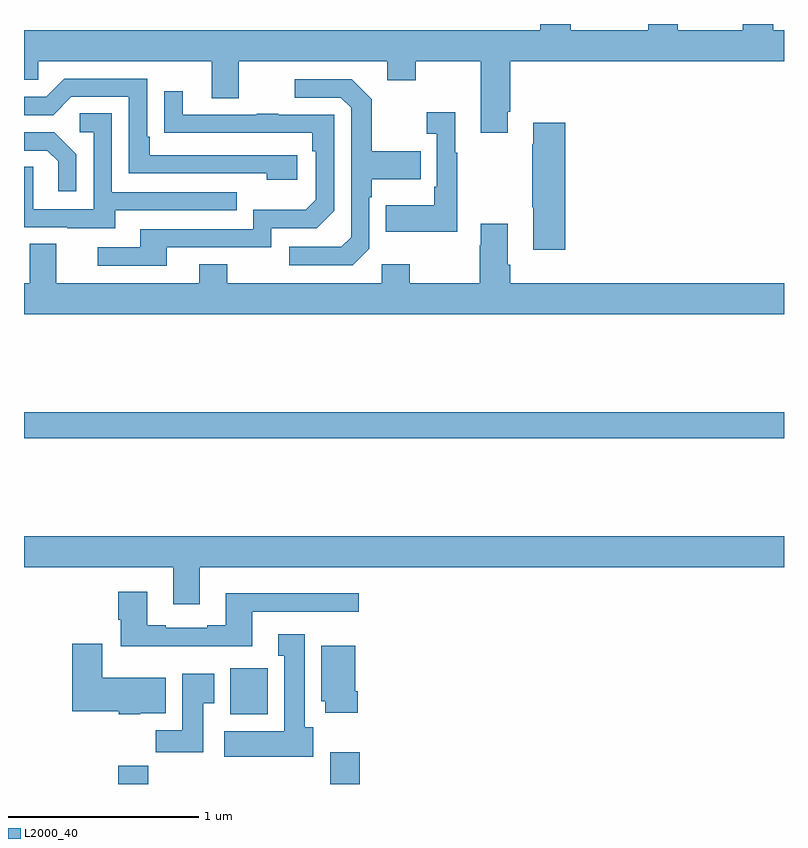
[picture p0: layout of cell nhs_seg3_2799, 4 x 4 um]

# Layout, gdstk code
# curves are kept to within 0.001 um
import gdstk
lib = gdstk.Library(unit=1e-6, precision=1e-09)
def R(c, l, rs):  # rectangles x0, y0, x1, y1
    for r in rs: c.add(gdstk.rectangle(r[:2], r[2:], *l))
def P(c, l, *ps):  # polygons
    for p in ps: c.add(gdstk.Polygon(p, *l))
L2000_40 = (2000, 40)

nhs_seg3_2799 = lib.new_cell('nhs_seg3_2799')
R(nhs_seg3_2799, L2000_40, [(255.497,742.4,255.653,742.496), (256.613,742.4,256.766,742.567), (256.085,742.766,256.282,743.008), (255,744.22,259,744.356)])
P(nhs_seg3_2799, L2000_40, [(257.545,745.939),(257.558,745.939),(257.558,746.204),(259,746.204),(259,746.368),(258.944,746.368),(258.944,746.4),(258.784,746.4),(258.784,746.368),(258.441,746.368),(258.441,746.4),(258.286,746.4),(258.286,746.368),(257.877,746.368),(257.877,746.4),(257.717,746.4),(257.717,746.368),(255,746.368),(255,746.106),(255.075,746.106),(255.075,746.204),(255.989,746.204),(255.989,746.01),(256.129,746.01),(256.129,746.204),(256.913,746.204),(256.913,746.105),(257.061,746.105),(257.061,746.204),(257.405,746.204),(257.405,745.827),(257.545,745.827)],
  [(256.438,745.71),(255.661,745.71),(255.661,745.807),(255.648,745.807),(255.648,746.112),(255.213,746.112),(255.117,746.016),(255,746.016),(255,745.92),(255.153,745.92),(255.249,746.016),(255.552,746.016),(255.552,745.614),(256.277,745.614),(256.277,745.58),(256.438,745.58)],
  [(256.818,745.218),(256.818,745.487),(256.831,745.487),(256.831,745.583),(257.087,745.583),(257.087,745.731),(256.831,745.731),(256.831,746.003),(256.725,746.109),(256.425,746.109),(256.425,746.013),(256.668,746.013),(256.722,745.959),(256.722,745.278),(256.671,745.227),(256.395,745.227),(256.395,745.131),(256.731,745.131)],
  [(255.751,745.224),(256.302,745.224),(256.302,745.326),(256.542,745.326),(256.632,745.416),(256.632,745.923),(256.337,745.923),(256.337,745.928),(256.225,745.928),(256.225,745.923),(255.835,745.923),(255.835,746.047),(255.739,746.047),(255.739,745.828),(256.516,745.827),(256.516,745.73),(256.536,745.73),(256.536,745.476),(256.483,745.423),(256.206,745.423),(256.206,745.32),(255.611,745.32),(255.611,745.224),(255.387,745.224),(255.387,745.128),(255.751,745.128)],
  [(257.281,745.723),(257.269,745.723),(257.269,745.936),(257.121,745.936),(257.121,745.823),(257.172,745.823),(257.172,745.543),(257.16,745.543),(257.16,745.447),(256.903,745.447),(256.903,745.307),(257.281,745.307)],
  [(255.481,745.419),(256.121,745.419),(256.121,745.515),(255.462,745.515),(255.462,745.931),(255.294,745.931),(255.294,745.83),(255.366,745.83),(255.366,745.425),(255.048,745.425),(255.048,745.649),(255,745.649),(255,745.329),(255.227,745.329),(255.227,745.325),(255.481,745.325)],
  [(257.849,745.879),(257.681,745.879),(257.681,745.766),(257.674,745.766),(257.674,745.435),(257.681,745.435),(257.681,745.212),(257.849,745.212)],
  [(255.276,745.714),(255.16,745.83),(255,745.83),(255,745.734),(255.122,745.734),(255.179,745.677),(255.179,745.521),(255.276,745.521)],
  [(259,745.036),(257.558,745.036),(257.558,745.132),(257.545,745.132),(257.545,745.348),(257.405,745.348),(257.405,745.235),(257.398,745.235),(257.398,745.036),(257.031,745.036),(257.031,745.135),(256.884,745.135),(256.884,745.036),(256.071,745.036),(256.071,745.135),(255.923,745.135),(255.923,745.036),(255.169,745.036),(255.169,745.244),(255.029,745.244),(255.029,745.036),(255,745.036),(255,744.872),(259,744.872)],
  [(255.925,743.54),(259,743.54),(259,743.704),(255,743.704),(255,743.54),(255.785,743.54),(255.785,743.346),(255.925,743.346)],
  [(256.201,743.307),(256.762,743.307),(256.762,743.404),(256.061,743.404),(256.061,743.236),(255.965,743.236),(255.965,743.223),(255.745,743.223),(255.745,743.236),(255.649,743.236),(255.649,743.413),(255.497,743.413),(255.497,743.265),(255.509,743.265),(255.509,743.126),(256.201,743.126)],
  [(256.522,742.698),(256.477,742.698),(256.477,743.188),(256.337,743.188),(256.337,743.075),(256.37,743.075),(256.37,742.678),(256.053,742.678),(256.053,742.544),(256.522,742.544)],
  [(255.612,742.772),(255.745,742.772),(255.745,742.96),(255.412,742.96),(255.412,743.137),(255.254,743.137),(255.254,742.784),(255.498,742.784),(255.498,742.766),(255.612,742.766)],
  [(256.757,742.888),(256.744,742.888),(256.744,743.128),(256.565,743.128),(256.565,742.836),(256.586,742.836),(256.586,742.776),(256.757,742.776)],
  [(255.943,742.825),(256,742.825),(256,742.981),(255.833,742.981),(255.833,742.684),(255.694,742.684),(255.694,742.566),(255.943,742.566)])

lib.write_gds('nhs_seg3_2799.gds')
